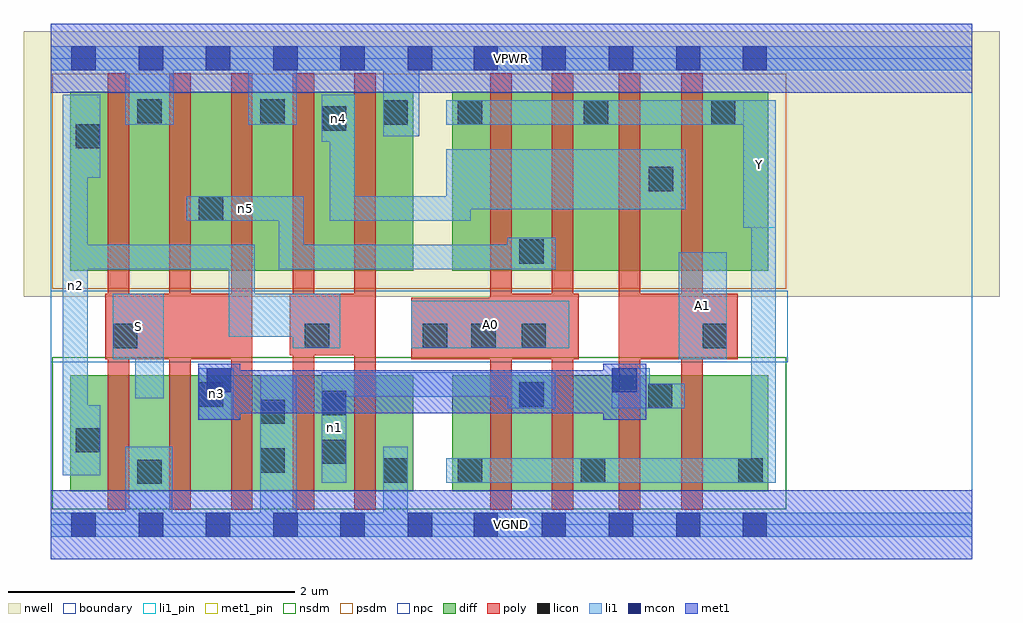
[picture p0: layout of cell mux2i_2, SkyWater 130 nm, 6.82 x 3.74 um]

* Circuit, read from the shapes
.subckt mux2i_2 A0 A1 S VGND VPWR Y n1 n2 n3 n4 n5
XM1 VGND S n2 VSUBS sky130_fd_pr__nfet_01v8 w=0.81 l=0.15
XM2 n3 S VGND VSUBS sky130_fd_pr__nfet_01v8 w=0.81 l=0.15 m=2
XM3 n1 n2 VGND VSUBS sky130_fd_pr__nfet_01v8 w=0.81 l=0.15 m=2
XM4 n1 A0 Y VSUBS sky130_fd_pr__nfet_01v8 w=0.81 l=0.15 m=2
XM5 n3 A1 Y VSUBS sky130_fd_pr__nfet_01v8 w=0.81 l=0.15 m=2
XM6 VPWR S n2 n6 sky130_fd_pr__pfet_01v8 w=1.25 l=0.15
XM7 n5 S VPWR n6 sky130_fd_pr__pfet_01v8 w=1.25 l=0.15 m=2
XM8 n4 n2 VPWR n6 sky130_fd_pr__pfet_01v8 w=1.25 l=0.15 m=2
XM9 n5 A0 Y n6 sky130_fd_pr__pfet_01v8 w=1.25 l=0.15 m=2
XM10 n4 A1 Y n6 sky130_fd_pr__pfet_01v8 w=1.25 l=0.15 m=2
.ends

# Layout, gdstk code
import gdstk
lib = gdstk.Library(unit=1e-6, precision=1e-09)
def R(c, l, rs):  # rectangles x0, y0, x1, y1
    for r in rs: c.add(gdstk.rectangle(r[:2], r[2:], *l))
def A(c, l, x, y, w, h, nx, ny, dx, dy):  # array of equal rectangles
    R(c, l, [(x+i*dx, y+j*dy, x+i*dx+w, y+j*dy+h) for i in range(nx) for j in range(ny)])
nwell = (64, 20)
diff = (65, 20)
poly = (66, 20)
licon = (66, 44)
li1_pin = (67, 16)
li1 = (67, 20)
mcon = (67, 44)
met1_pin = (68, 16)
met1 = (68, 20)
nsdm = (93, 44)
psdm = (94, 20)
npc = (95, 20)
boundary = (235, 4)

mux2i_2 = lib.new_cell('mux2i_2')
R(mux2i_2, nwell, [(-0.19,1.595,6.63,3.45), (0,1.595,6.44,3.45)])
R(mux2i_2, diff, [(0.135,0.235,2.535,1.045), (2.805,0.235,5.015,1.045), (0.135,1.775,2.535,3.025), (2.805,1.775,5.015,3.025)])
A(mux2i_2, poly, 0.4, 0.105, 0.15, 3.05, 5, 1, 0.43, 0)
R(mux2i_2, poly, [(3.07,0.105,3.22,3.155), (3.5,0.105,3.65,3.155), (3.97,0.105,4.12,3.155), (4.405,0.105,4.555,3.155), (0.38,1.155,1.41,1.615), (2.52,1.155,3.69,1.585), (3.07,1.155,3.69,1.615), (3.97,1.155,4.8,1.615), (1.67,1.185,2.27,1.615)])
R(mux2i_2, licon, [(0.605,0.285,0.775,0.455), (2.325,0.295,2.495,0.465), (2.845,0.295,3.015,0.465), (3.705,0.295,3.875,0.465), (4.805,0.295,4.975,0.465), (1.465,0.365,1.635,0.535), (1.895,0.425,2.065,0.595), (0.175,0.505,0.345,0.675), (1.465,0.705,1.635,0.875), (1.895,0.765,2.065,0.935), (4.175,0.815,4.345,0.985), (1.035,0.825,1.205,0.995), (3.275,0.825,3.445,0.995), (0.435,1.235,0.605,1.405), (1.775,1.235,1.945,1.405), (2.6,1.235,2.77,1.405), (2.94,1.235,3.11,1.405), (3.29,1.235,3.46,1.405), (4.555,1.235,4.725,1.405), (3.275,1.825,3.445,1.995), (1.035,2.125,1.205,2.295), (4.18,2.33,4.35,2.5), (0.175,2.63,0.345,2.8), (1.895,2.755,2.065,2.925), (2.325,2.795,2.495,2.965), (2.845,2.795,3.015,2.965), (3.725,2.795,3.895,2.965), (4.615,2.795,4.785,2.965), (0.605,2.805,0.775,2.975), (1.465,2.805,1.635,2.975)])
R(mux2i_2, li1_pin, [(0.435,1.155,0.79,1.615), (4.39,1.155,4.725,1.905), (2.52,1.235,3.625,1.565), (4.84,2.075,5.065,2.965)])
R(mux2i_2, li1, [(0,-0.085,6.44,0.085), (0.52,-0.085,0.85,0.545), (1.465,-0.085,1.72,1.045), (2.325,-0.085,2.495,0.545), (1.895,0.295,2.065,1.065), (2.765,0.295,5.065,0.465), (4.895,0.295,5.065,2.965), (0.085,0.345,0.26,3.005), (0.085,0.345,0.345,0.835), (1.035,0.735,1.28,1.095), (3.19,0.815,3.53,1.065), (3.92,0.815,4.43,0.985), (3.92,0.815,4.185,1.095), (0.59,0.885,0.79,1.615), (1.895,0.895,3.53,1.065), (0.435,1.155,0.79,1.615), (4.39,1.155,4.725,1.905), (1.69,1.235,2.025,1.615), (2.52,1.235,3.625,1.565), (1.245,1.315,2.025,1.615), (1.245,1.315,1.425,1.955), (0.085,1.785,1.425,1.955), (1.595,1.785,3.53,1.955), (1.595,1.785,1.77,2.295), (3.19,1.785,3.53,2.005), (4.84,2.075,5.065,2.965), (0.95,2.125,1.77,2.295), (1.95,2.125,2.935,2.295), (1.95,2.125,2.125,3.005), (2.935,2.205,4.435,2.625), (2.765,2.295,4.435,2.625), (0.085,2.425,0.345,3.005), (1.895,2.675,2.125,3.005), (2.325,2.715,2.575,3.345), (0.52,2.795,0.86,3.345), (1.38,2.795,1.72,3.345), (2.765,2.795,5.065,2.965), (0,3.175,6.44,3.345)])
A(mux2i_2, mcon, 0.145, -0.085, 0.17, 0.17, 6, 2, 0.47, 3.26)
A(mux2i_2, mcon, 3.43, -0.085, 0.17, 0.17, 3, 2, 0.47, 3.26)
R(mux2i_2, mcon, [(2.955,-0.085,3.125,0.085), (4.835,-0.085,5.005,0.085), (1.09,0.925,1.26,1.095), (3.925,0.925,4.095,1.095), (2.955,3.175,3.125,3.345), (4.835,3.175,5.005,3.345)])
R(mux2i_2, met1_pin, [(0,-0.24,6.44,0.24), (0,3.02,6.44,3.5)])
R(mux2i_2, met1, [(0,-0.24,6.44,0.24), (1.03,0.735,1.325,1.125), (3.86,0.735,4.16,1.125), (1.03,0.78,4.16,1.08), (0,3.02,6.44,3.5)])
R(mux2i_2, nsdm, [(0.01,0.11,5.14,1.17)])
R(mux2i_2, psdm, [(0.01,1.65,5.14,3.15)])
R(mux2i_2, npc, [(0,1.135,5.15,1.635)])
R(mux2i_2, boundary, [(0,0,6.44,3.26)])
mux2i_2.add(gdstk.Label('A0', (3.072,1.4), layer=67, texttype=5))
mux2i_2.add(gdstk.Label('A1', (4.557,1.53), layer=67, texttype=5))
mux2i_2.add(gdstk.Label('S', (0.612,1.385), layer=67, texttype=5))
mux2i_2.add(gdstk.Label('Y', (4.952,2.52), layer=67, texttype=5))
mux2i_2.add(gdstk.Label('n1', (1.98,0.68), layer=67, texttype=5))
mux2i_2.add(gdstk.Label('n3', (1.157,0.915), layer=67, texttype=5))
mux2i_2.add(gdstk.Label('n5', (1.36,2.21), layer=67, texttype=5))
mux2i_2.add(gdstk.Label('n2', (0.172,1.675), layer=67, texttype=5))
mux2i_2.add(gdstk.Label('n4', (2.01,2.84), layer=67, texttype=5))
mux2i_2.add(gdstk.Label('VPWR', (3.22,3.26), layer=68, texttype=5))
mux2i_2.add(gdstk.Label('VGND', (3.22,0), layer=68, texttype=5))
mux2i_2.add(gdstk.Label('A0', (3.072,1.4), layer=67, texttype=16))
mux2i_2.add(gdstk.Label('A1', (4.557,1.53), layer=67, texttype=16))
mux2i_2.add(gdstk.Label('S', (0.612,1.385), layer=67, texttype=16))
mux2i_2.add(gdstk.Label('Y', (4.952,2.52), layer=67, texttype=16))
mux2i_2.add(gdstk.Label('VPWR', (3.22,3.26), layer=68, texttype=16))
mux2i_2.add(gdstk.Label('VGND', (3.22,0), layer=68, texttype=16))

lib.write_gds('mux2i_2.gds')
